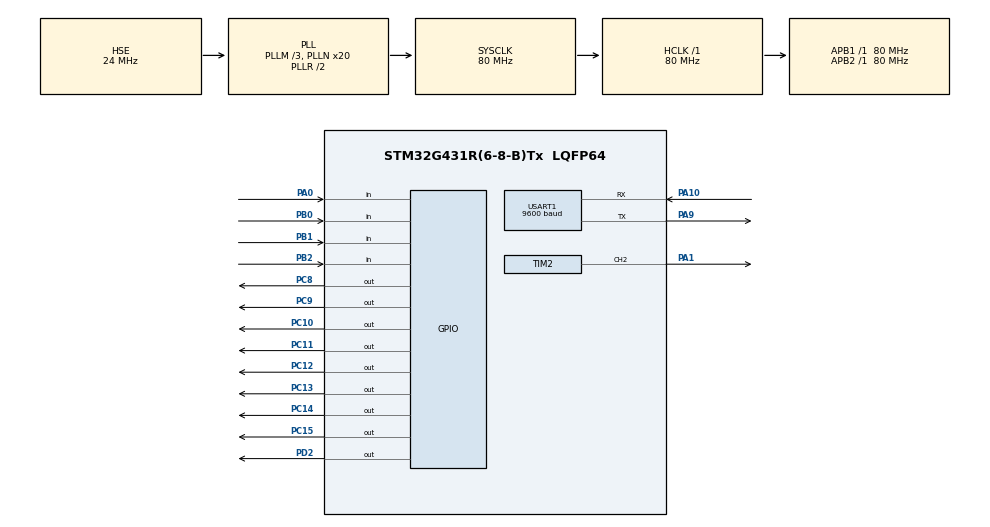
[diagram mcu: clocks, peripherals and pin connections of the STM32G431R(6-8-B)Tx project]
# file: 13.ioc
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Mcu.Family=STM32G4
Mcu.Name=STM32G431R(6-8-B)Tx
Mcu.Package=LQFP64
NVIC.PriorityGroup=NVIC_PRIORITYGROUP_4
NVIC.TIM3_IRQn=true\:0\:0\:false\:false\:true\:true\:true
NVIC.TIM4_IRQn=true\:0\:0\:false\:false\:true\:true\:true
NVIC.USART1_IRQn=true\:0\:0\:false\:false\:true\:true\:true
PA0.GPIO_PuPd=GPIO_PULLUP
PA0.Signal=GPIO_Input
PA1.Signal=S_TIM2_CH2
PA10.Mode=Asynchronous
PA10.Signal=USART1_RX
PA13.Mode=Serial_Wire
PA13.Signal=SYS_JTMS-SWDIO
PA14.Mode=Serial_Wire
PA14.Signal=SYS_JTCK-SWCLK
PA9.Mode=Asynchronous
PA9.Signal=USART1_TX
PB0.GPIO_PuPd=GPIO_PULLUP
PB0.Signal=GPIO_Input
PB1.GPIO_PuPd=GPIO_PULLUP
PB1.Signal=GPIO_Input
PB2.GPIO_PuPd=GPIO_PULLUP
PB2.Signal=GPIO_Input
PC10.Signal=GPIO_Output
PC11.Signal=GPIO_Output
PC12.Signal=GPIO_Output
PC13.Signal=GPIO_Output
PC14-OSC32_IN.Signal=GPIO_Output
PC15-OSC32_OUT.Signal=GPIO_Output
PC8.Signal=GPIO_Output
PC9.Signal=GPIO_Output
PD2.Signal=GPIO_Output
PF0-OSC_IN.Mode=HSE-External-Oscillator
PF0-OSC_IN.Signal=RCC_OSC_IN
PF1-OSC_OUT.Mode=HSE-External-Oscillator
PF1-OSC_OUT.Signal=RCC_OSC_OUT
ProjectManager.HeapSize=0x200
ProjectManager.StackSize=0x400
ProjectManager.TargetToolchain=MDK-ARM V5
RCC.ADC12Freq_Value=80000000
RCC.AHBFreq_Value=80000000
RCC.APB1Freq_Value=80000000
RCC.APB1TimFreq_Value=80000000
RCC.APB2Freq_Value=80000000
RCC.APB2TimFreq_Value=80000000
RCC.CortexFreq_Value=80000000
RCC.EXTERNAL_CLOCK_VALUE=12288000
RCC.HCLKFreq_Value=80000000
RCC.HSE_VALUE=24000000
RCC.HSI48_VALUE=48000000
RCC.HSI_VALUE=16000000
RCC.LSE_VALUE=32768
RCC.PLLM=RCC_PLLM_DIV3
RCC.PLLN=20
RCC.PLLSourceVirtual=RCC_PLLSOURCE_HSE
RCC.SYSCLKFreq_VALUE=80000000
RCC.SYSCLKSource=RCC_SYSCLKSOURCE_PLLCLK
RCC.USBFreq_Value=80000000
RCC.VCOOutputFreq_Value=160000000
SH.S_TIM2_CH2.0=TIM2_CH2,PWM Generation2 CH2
TIM2.Channel-PWM\ Generation2\ CH2=TIM_CHANNEL_2
TIM2.PeriodNoDither=1000-1
TIM2.Prescaler=80-1
TIM2.PulseNoDither_2=500
TIM3.PeriodNoDither=10000-1
TIM3.Prescaler=800-1
TIM4.PeriodNoDither=10000-1
TIM4.Prescaler=800-1
USART1.BaudRate=9600
USART1.VirtualMode-Asynchronous=VM_ASYNC
USART1.WordLength=WORDLENGTH_8B
VP_SYS_VS_DBSignals.Mode=DisableDeadBatterySignals
VP_TIM2_VS_ClockSourceINT.Mode=Internal
VP_TIM3_VS_ClockSourceINT.Mode=Internal
VP_TIM4_VS_ClockSourceINT.Mode=Internal
board=custom

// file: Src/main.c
/* USER CODE BEGIN Header */
/**
  ******************************************************************************
  * @file           : main.c
  * @brief          : Main program body
  ******************************************************************************
  * @attention
  *
  * <h2><center>&copy; Copyright (c) 2024 STMicroelectronics.
  * All rights reserved.</center></h2>
  *
  * This software component is licensed by ST under BSD 3-Clause license,
  * the "License"; You may not use this file except in compliance with the
  * License. You may obtain a copy of the License at:
  *                        opensource.org/licenses/BSD-3-Clause
  *
  ******************************************************************************
  */
/* USER CODE END Header */

#include "main.h"
#include "tim.h"
#include "usart.h"
#include "gpio.h"

/* USER CODE BEGIN Includes */
#include "key.h"
#include "lcd.h"
#include "led.h"
#include "myfile.h"

/* USER CODE END Includes */

/* USER CODE BEGIN PV */

//保存正确密码的变量
uint8_t code_one=1,code_two=2,code_thr=3;

//保存输入的密码
int8_t code_1=-1;
int8_t code_2=-1;
int8_t code_3=-1;

//保存频率，占空比的变量
uint16_t freq=1000;
uint8_t duty=50;

//保存当前显示的界面
//0--密码输入界面		1--参数显示界面
uint8_t menu=0;

//记录密码输入错误次数
uint8_t error_counts=0;

//记录此次输入密码是否正确
//0---输入错误	1--输入正确
uint8_t is_correct;

//定时器计数
uint16_t count=0;

//LED2的状态
unsigned char led2_sta;

/* USER CODE END PV */

void SystemClock_Config(void);

int main(void)
{

  /* MCU Configuration--------------------------------------------------------*/

  /* Reset of all peripherals, Initializes the Flash interface and the Systick. */
  HAL_Init();

  /* Configure the system clock */
  SystemClock_Config();

  /* Initialize all configured peripherals */
  MX_GPIO_Init();
  MX_TIM2_Init();
  MX_TIM3_Init();
  MX_TIM4_Init();
  MX_USART1_UART_Init();
  /* USER CODE BEGIN 2 */
	sys_init();
  /* USER CODE END 2 */

  /* Infinite loop */
  while (1)
  {

    /* USER CODE BEGIN 3 */
		sys_work();
  }
  /* USER CODE END 3 */
}

void SystemClock_Config(void)
{
  RCC_OscInitTypeDef RCC_OscInitStruct = {0};
  RCC_ClkInitTypeDef RCC_ClkInitStruct = {0};
  RCC_PeriphCLKInitTypeDef PeriphClkInit = {0};

  /** Configure the main internal regulator output voltage
  */
  HAL_PWREx_ControlVoltageScaling(PWR_REGULATOR_VOLTAGE_SCALE1);
  /** Initializes the CPU, AHB and APB busses clocks
  */
  RCC_OscInitStruct.OscillatorType = RCC_OSCILLATORTYPE_HSE;
  RCC_OscInitStruct.HSEState = RCC_HSE_ON;
  RCC_OscInitStruct.PLL.PLLState = RCC_PLL_ON;
  RCC_OscInitStruct.PLL.PLLSource = RCC_PLLSOURCE_HSE;
  RCC_OscInitStruct.PLL.PLLM = RCC_PLLM_DIV3;
  RCC_OscInitStruct.PLL.PLLN = 20;
  RCC_OscInitStruct.PLL.PLLP = RCC_PLLP_DIV2;
  RCC_OscInitStruct.PLL.PLLQ = RCC_PLLQ_DIV2;
  RCC_OscInitStruct.PLL.PLLR = RCC_PLLR_DIV2;
  if (HAL_RCC_OscConfig(&RCC_OscInitStruct) != HAL_OK)
  {
    Error_Handler();
  }
  /** Initializes the CPU, AHB and APB busses clocks
  */
  RCC_ClkInitStruct.ClockType = RCC_CLOCKTYPE_HCLK|RCC_CLOCKTYPE_SYSCLK
                              |RCC_CLOCKTYPE_PCLK1|RCC_CLOCKTYPE_PCLK2;
  RCC_ClkInitStruct.SYSCLKSource = RCC_SYSCLKSOURCE_PLLCLK;
  RCC_ClkInitStruct.AHBCLKDivider = RCC_SYSCLK_DIV1;
  RCC_ClkInitStruct.APB1CLKDivider = RCC_HCLK_DIV1;
  RCC_ClkInitStruct.APB2CLKDivider = RCC_HCLK_DIV1;

  if (HAL_RCC_ClockConfig(&RCC_ClkInitStruct, FLASH_LATENCY_3) != HAL_OK)
  {
    Error_Handler();
  }
  /** Initializes the peripherals clocks
  */
  PeriphClkInit.PeriphClockSelection = RCC_PERIPHCLK_USART1;
  PeriphClkInit.Usart1ClockSelection = RCC_USART1CLKSOURCE_PCLK2;
  if (HAL_RCCEx_PeriphCLKConfig(&PeriphClkInit) != HAL_OK)
  {
    Error_Handler();
  }
}

void Error_Handler(void)
{
}

/************************ (C) COPYRIGHT STMicroelectronics *****END OF FILE****/
